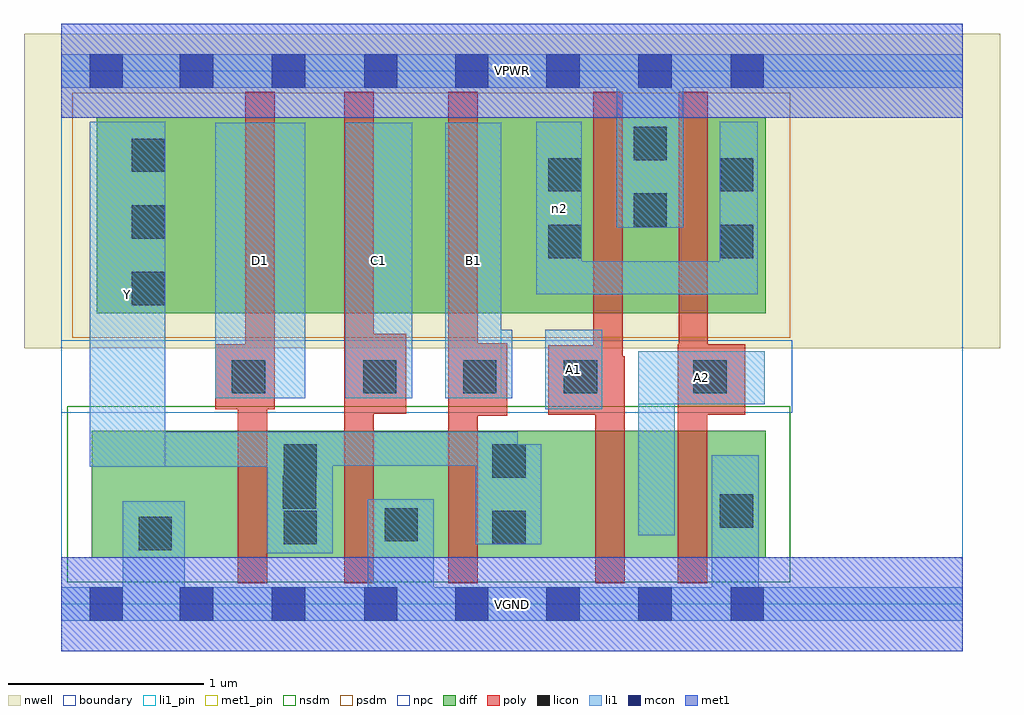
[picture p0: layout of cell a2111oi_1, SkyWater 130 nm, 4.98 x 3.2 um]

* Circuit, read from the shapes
.subckt a2111oi_1 A1 A2 B1 C1 D1 VGND VPWR Y n2
XM1 Y D1 VGND VSUBS sky130_fd_pr__nfet_01v8 w=0.65 l=0.15
XM2 VGND C1 Y VSUBS sky130_fd_pr__nfet_01v8 w=0.65 l=0.15
XM3 Y B1 VGND VSUBS sky130_fd_pr__nfet_01v8 w=0.65 l=0.15
XM4 n1 A1 Y VSUBS sky130_fd_pr__nfet_01v8 w=0.65 l=0.15
XM5 VGND A2 n1 VSUBS sky130_fd_pr__nfet_01v8 w=0.65 l=0.15
XM6 n3 D1 Y n4 sky130_fd_pr__pfet_01v8 w=1 l=0.15
XM7 n5 C1 n3 n4 sky130_fd_pr__pfet_01v8 w=1 l=0.15
XM8 n2 B1 n5 n4 sky130_fd_pr__pfet_01v8 w=1 l=0.15
XM9 VPWR A1 n2 n4 sky130_fd_pr__pfet_01v8 w=1 l=0.15
XM10 n2 A2 VPWR n4 sky130_fd_pr__pfet_01v8 w=1 l=0.15
.ends

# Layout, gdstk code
import gdstk
lib = gdstk.Library(unit=1e-6, precision=1e-09)
def R(c, l, rs):  # rectangles x0, y0, x1, y1
    for r in rs: c.add(gdstk.rectangle(r[:2], r[2:], *l))
def A(c, l, x, y, w, h, nx, ny, dx, dy):  # array of equal rectangles
    R(c, l, [(x+i*dx, y+j*dy, x+i*dx+w, y+j*dy+h) for i in range(nx) for j in range(ny)])
nwell = (64, 20)
diff = (65, 20)
poly = (66, 20)
licon = (66, 44)
li1_pin = (67, 16)
li1 = (67, 20)
mcon = (67, 44)
met1_pin = (68, 16)
met1 = (68, 20)
nsdm = (93, 44)
psdm = (94, 20)
npc = (95, 20)
boundary = (235, 4)

a2111oi_1 = lib.new_cell('a2111oi_1')
R(a2111oi_1, nwell, [(-0.19,1.305,4.79,2.91), (0,1.305,4.6,2.91)])
R(a2111oi_1, diff, [(0.155,0.235,3.595,0.885), (0.18,1.485,3.595,2.485)])
R(a2111oi_1, poly, [(0.9,0.105,1.05,1.325), (1.445,0.105,1.595,2.615), (1.975,0.105,2.125,2.615), (2.725,0.105,2.875,1.265), (3.145,0.105,3.295,1.325), (1.975,0.96,2.275,1.33), (2.485,0.965,2.865,1.32), (2.715,0.965,2.865,2.615), (3.145,0.965,3.49,1.325), (3.15,0.965,3.3,2.615), (1.445,0.97,1.76,1.38), (0.785,0.995,1.09,1.325), (0.94,0.995,1.09,2.615)])
A(a2111oi_1, licon, 0.36, 1.525, 0.17, 0.17, 1, 3, 0, 0.34)
R(a2111oi_1, licon, [(0.395,0.275,0.565,0.445), (1.135,0.305,1.305,0.475), (2.2,0.305,2.37,0.475), (1.65,0.32,1.82,0.49), (3.36,0.39,3.53,0.56), (1.13,0.485,1.3,0.655), (1.135,0.645,1.305,0.815), (2.2,0.645,2.37,0.815), (0.87,1.075,1.04,1.245), (1.54,1.075,1.71,1.245), (2.05,1.075,2.22,1.245), (2.565,1.075,2.735,1.245), (3.225,1.075,3.395,1.245), (2.485,1.765,2.655,1.935), (3.36,1.765,3.53,1.935), (2.92,1.925,3.09,2.095), (2.485,2.105,2.655,2.275), (3.36,2.105,3.53,2.275), (2.92,2.265,3.09,2.435)])
R(a2111oi_1, li1_pin, [(0.145,0.7,0.53,2.46), (2.47,0.995,2.76,1.4), (2.945,1.02,3.59,1.29), (0.785,1.05,1.245,2.455), (1.45,1.05,1.79,2.455), (1.96,1.05,2.245,2.455)])
R(a2111oi_1, li1, [(0,-0.085,4.6,0.085), (0.315,-0.085,0.63,0.525), (1.565,-0.085,1.9,0.535), (3.32,-0.085,3.56,0.76), (1.05,0.26,1.385,0.88), (2.115,0.305,2.45,0.705), (2.115,0.305,2.33,0.88), (2.945,0.35,3.13,1.29), (0.145,0.7,0.53,2.46), (0.145,0.7,1.385,0.88), (0.145,0.705,2.115,0.88), (0.145,0.705,2.45,0.815), (2.47,0.995,2.76,1.4), (2.945,1.02,3.59,1.29), (0.785,1.05,1.245,2.455), (1.45,1.05,1.79,2.455), (1.96,1.05,2.245,2.455), (1.96,1.05,2.3,1.4), (2.425,1.58,2.655,2.46), (2.425,1.58,3.555,1.75), (3.36,1.58,3.555,2.46), (2.835,1.92,3.175,2.805), (0,2.635,4.6,2.805)])
A(a2111oi_1, mcon, 0.605, -0.085, 0.17, 0.17, 3, 2, 0.47, 2.72)
A(a2111oi_1, mcon, 2.475, -0.085, 0.17, 0.17, 3, 2, 0.47, 2.72)
R(a2111oi_1, mcon, [(0.145,-0.085,0.315,0.085), (2.01,-0.085,2.18,0.085), (0.145,2.635,0.315,2.805), (2.01,2.635,2.18,2.805)])
R(a2111oi_1, met1_pin, [(0,-0.24,4.6,0.24), (0,2.48,4.6,2.96)])
R(a2111oi_1, met1, [(0,-0.24,4.6,0.24), (0,2.48,4.6,2.96)])
R(a2111oi_1, nsdm, [(0.03,0.11,3.72,1.01)])
R(a2111oi_1, psdm, [(0.055,1.36,3.72,2.61)])
R(a2111oi_1, npc, [(0,0.975,3.73,1.345)])
R(a2111oi_1, boundary, [(0,0,4.6,2.72)])
a2111oi_1.add(gdstk.Label('A1', (2.615,1.197), layer=67, texttype=5))
a2111oi_1.add(gdstk.Label('A2', (3.267,1.155), layer=67, texttype=5))
a2111oi_1.add(gdstk.Label('B1', (2.102,1.752), layer=67, texttype=5))
a2111oi_1.add(gdstk.Label('C1', (1.62,1.752), layer=67, texttype=5))
a2111oi_1.add(gdstk.Label('D1', (1.015,1.752), layer=67, texttype=5))
a2111oi_1.add(gdstk.Label('Y', (0.337,1.58), layer=67, texttype=5))
a2111oi_1.add(gdstk.Label('n2', (2.54,2.02), layer=67, texttype=5))
a2111oi_1.add(gdstk.Label('VPWR', (2.3,2.72), layer=68, texttype=5))
a2111oi_1.add(gdstk.Label('VGND', (2.3,0), layer=68, texttype=5))
a2111oi_1.add(gdstk.Label('A1', (2.615,1.197), layer=67, texttype=16))
a2111oi_1.add(gdstk.Label('A2', (3.267,1.155), layer=67, texttype=16))
a2111oi_1.add(gdstk.Label('B1', (2.102,1.752), layer=67, texttype=16))
a2111oi_1.add(gdstk.Label('C1', (1.62,1.752), layer=67, texttype=16))
a2111oi_1.add(gdstk.Label('D1', (1.015,1.752), layer=67, texttype=16))
a2111oi_1.add(gdstk.Label('Y', (0.337,1.58), layer=67, texttype=16))
a2111oi_1.add(gdstk.Label('VPWR', (2.3,2.72), layer=68, texttype=16))
a2111oi_1.add(gdstk.Label('VGND', (2.3,0), layer=68, texttype=16))

lib.write_gds('a2111oi_1.gds')
